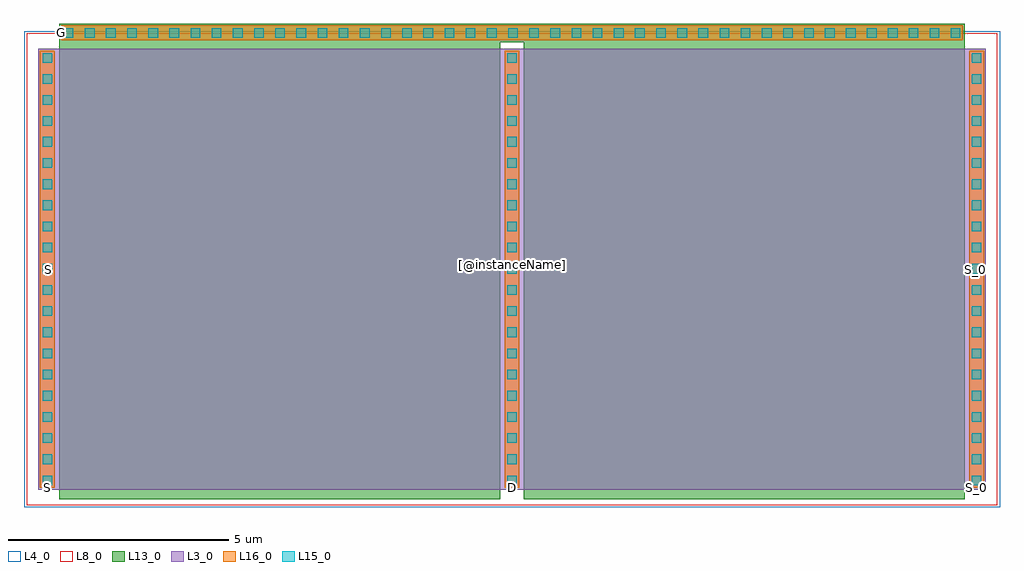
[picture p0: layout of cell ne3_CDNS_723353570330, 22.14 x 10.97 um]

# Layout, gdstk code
import gdstk
lib = gdstk.Library(unit=1e-6, precision=1e-09)
def R(c, l, rs):  # rectangles x0, y0, x1, y1
    for r in rs: c.add(gdstk.rectangle(r[:2], r[2:], *l))
def A(c, l, x, y, w, h, nx, ny, dx, dy):  # array of equal rectangles
    R(c, l, [(x+i*dx, y+j*dy, x+i*dx+w, y+j*dy+h) for i in range(nx) for j in range(ny)])
L3_0 = (3, 0)
L4_0 = (4, 0)
L8_0 = (8, 0)
L13_0 = (13, 0)
L15_0 = (15, 0)
L16_0 = (16, 0)

ne3_cdns_723353570330 = lib.new_cell('ne3_CDNS_723353570330')
R(ne3_cdns_723353570330, L3_0, [(-0.48,0,0,10), (0,0,10,10), (10,0,10.54,10), (10.54,0,20.54,10), (20.54,0,21.02,10)])
R(ne3_cdns_723353570330, L4_0, [(-0.8,-0.4,21.34,10.4), (-0.8,-0.4,21.34,10.4)])
R(ne3_cdns_723353570330, L8_0, [(-0.74,-0.35,21.28,10.35), (-0.74,-0.35,21.28,10.35)])
R(ne3_cdns_723353570330, L13_0, [(0,-0.22,10,0), (0,-0.22,10,-0.12), (10.54,-0.22,20.54,0), (10.54,-0.22,20.54,-0.12), (0,0,10,10), (10.54,0,20.54,10), (0,10,10,10.15), (10.54,10,20.54,10.15)])
A(ne3_cdns_723353570330, L15_0, -0.38, 0.1, 0.22, 0.22, 3, 17, 10.54, 0.48)
A(ne3_cdns_723353570330, L15_0, -0.38, 8.255, 0.22, 0.22, 3, 4, 10.54, 0.475)
A(ne3_cdns_723353570330, L15_0, 0.1, 10.25, 0.22, 0.22, 35, 1, 0.48, 0)
A(ne3_cdns_723353570330, L15_0, 16.895, 10.25, 0.22, 0.22, 8, 1, 0.475, 0)
ne3_cdns_723353570330.add(gdstk.FlexPath([(0,10.36),(20.54,10.36)], 0.42, ends="flush", simple_path=True, layer=13, datatype=0))  # L13_0
ne3_cdns_723353570330.add(gdstk.FlexPath([(20.81,0.04),(20.81,9.96)], 0.34, ends="flush", simple_path=True, layer=16, datatype=0))  # L16_0
ne3_cdns_723353570330.add(gdstk.FlexPath([(10.27,0.04),(10.27,9.96)], 0.34, ends="flush", simple_path=True, layer=16, datatype=0))  # L16_0
ne3_cdns_723353570330.add(gdstk.FlexPath([(-0.27,0.04),(-0.27,9.96)], 0.34, ends="flush", simple_path=True, layer=16, datatype=0))  # L16_0
ne3_cdns_723353570330.add(gdstk.FlexPath([(0.04,10.36),(20.5,10.36)], 0.34, ends="flush", simple_path=True, layer=16, datatype=0))  # L16_0
ne3_cdns_723353570330.add(gdstk.Label('S_0', (20.78,5), layer=3, texttype=0))
ne3_cdns_723353570330.add(gdstk.Label('S', (-0.24,5), layer=3, texttype=0))
ne3_cdns_723353570330.add(gdstk.Label('S_0', (20.81,0.04), layer=16, texttype=0))
ne3_cdns_723353570330.add(gdstk.Label('D', (10.27,0.04), layer=16, texttype=0))
ne3_cdns_723353570330.add(gdstk.Label('S', (-0.27,0.04), layer=16, texttype=0))
ne3_cdns_723353570330.add(gdstk.Label('G', (0.04,10.36), layer=16, texttype=0))
ne3_cdns_723353570330.add(gdstk.Label('[@instanceName]', (10.27,5.11), layer=230, texttype=0))

lib.write_gds('ne3_CDNS_723353570330.gds')
